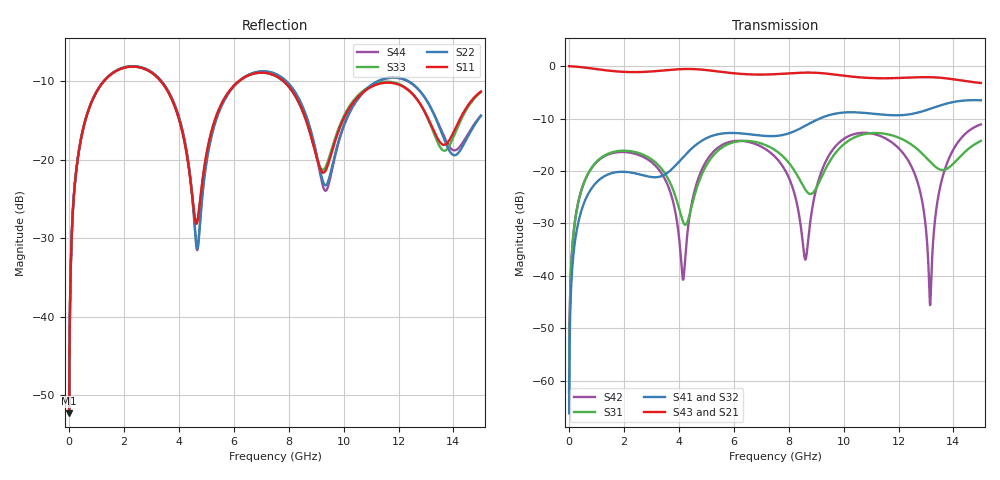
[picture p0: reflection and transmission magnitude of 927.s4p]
! Created with skrf 1.8.0 (http://scikit-rf.org).
# GHz S RI R 50.0
!freq ReS11 ImS11 ReS12 ImS12 ReS13 ImS13
! ReS14 ImS14
! ReS21 ImS21 ReS22 ImS22 ReS23 ImS23
! ReS24 ImS24
! ReS31 ImS31 ReS32 ImS32 ReS33 ImS33
! ReS34 ImS34
! ReS41 ImS41 ReS42 ImS42 ReS43 ImS43
! ReS44 ImS44
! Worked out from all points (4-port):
!   2499 points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, 5 MHz to 15 GHz, reference 50 ohm
!   strongest paths, dB at 5 MHz, 3.476 GHz, 7.19 GHz, 11.1 GHz, 15 GHz:
!     S43: 0.0, -0.8, -1.6, -2.3, -3.2
!     S21: 0.0, -0.8, -1.6, -2.3, -3.2
!     S41: -66.2, -20.7, -13.3, -9.1, -6.5
!     S32: -66.2, -20.7, -13.4, -9.2, -6.5
!     S31: -62.3, -20.3, -15.1, -12.8, -14.3
!     S42: -62.3, -21.4, -16.0, -12.9, -11.1
!   lowest |S11| = -52.3 dB at 5 MHz (marker M1), VSWR 1.00, Z = 50.2 + j0.147 ohm
!   |S11| at or under -10 dB: start of sweep to 1.266 GHz; 3.35 GHz to 6.178 GHz (2.827 GHz wide, 59.3 % of centre); 7.819 GHz to end of sweep
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0.005  0.00193 0.00146  0.998 -0.00375  9.78e-05 0.000762  -9.48e-05 -0.000479
       0.998 -0.00375  0.00193 0.00146  -9.48e-05 -0.000479  9.76e-05 0.000762
       9.78e-05 0.000762  -9.48e-05 -0.000479  0.00193 0.00146  0.998 -0.00375
       -9.48e-05 -0.000479  9.76e-05 0.000762  0.998 -0.00375  0.00193 0.00146
1.369321  0.2812 0.1743  0.5233 -0.7435  0.1339 0.0521  -0.0913 -0.00212
          0.5233 -0.7435  0.2836 0.1726  -0.0912 -0.00217  0.1271 0.062
          0.1339 0.0521  -0.0912 -0.00217  0.2813 0.1743  0.5234 -0.7435
          -0.0913 -0.00212  0.1271 0.062  0.5234 -0.7435  0.2836 0.1727
4.495623  0.0413 -0.0396  -0.9222 -0.1648  -0.0259 0.0416  -0.0265 0.1638
          -0.9222 -0.1648  0.0298 -0.0486  -0.0272 0.1637  0.0106 0.0518
          -0.0259 0.0416  -0.0272 0.1637  0.0417 -0.0393  -0.9222 -0.1649
          -0.0265 0.1638  0.0106 0.0518  -0.9222 -0.1649  0.0293 -0.0485
7.209254  0.3556 -0.0345  -0.00103 0.831  0.1421 -0.1007  0.2053 -0.0648
          -0.00103 0.831  0.3636 -0.0382  0.2053 -0.0631  0.144 -0.0654
          0.1421 -0.1007  0.2053 -0.0631  0.3549 -0.0344  -0.00142 0.8315
          0.2053 -0.0648  0.144 -0.0654  -0.00142 0.8315  0.3621 -0.0379
9.616507  0.1049 0.0566  0.833 -0.0432  0.0308 0.1346  -0.0402 -0.346
          0.833 -0.0432  0.0852 0.0447  -0.0379 -0.3452  0.0641 0.1474
          0.0308 0.1346  -0.0379 -0.3452  0.1105 0.0585  0.8328 -0.0429
          -0.0402 -0.346  0.0641 0.1474  0.8328 -0.0429  0.0795 0.0471
13.14923  0.1574 -0.0714  -0.527 -0.5795  -0.0774 -0.0949  -0.2792 0.2737
          -0.527 -0.5795  0.1732 -0.134  -0.285 0.2675  -0.00477 -0.0022
          -0.0774 -0.0949  -0.285 0.2675  0.1492 -0.0803  -0.5254 -0.5814
          -0.2792 0.2737  -0.00477 -0.0022  -0.5254 -0.5814  0.1809 -0.1247
15  0.2613 0.077  -0.6387 0.2619  0.141 0.1325  0.2448 0.4034
    -0.6387 0.2619  0.1817 0.0567  0.2392 0.4073  0.2367 0.1452
    0.141 0.1325  0.2392 0.4073  0.2574 0.0804  -0.6403 0.2593
    0.2448 0.4034  0.2367 0.1452  -0.6403 0.2593  0.1837 0.0546
